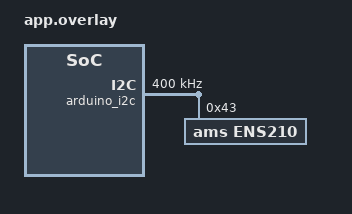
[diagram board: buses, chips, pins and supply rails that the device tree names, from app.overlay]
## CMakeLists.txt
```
# SPDX-License-Identifier: Apache-2.0

cmake_minimum_required(VERSION 3.20.0)

find_package(Zephyr REQUIRED HINTS $ENV{ZEPHYR_BASE})
project(ens210)

FILE(GLOB app_sources src/*.c)
target_sources(app PRIVATE ${app_sources})
```

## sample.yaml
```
sample:
  description: Demonstration of the AMS Temperature and Humidity Sensor driver
  name: ENS210 sample
tests:
  sample.sensor.ens210:
    harness: sensor
    tags: samples
    depends_on:
      - i2c
      - arduino_i2c
```

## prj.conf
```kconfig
CONFIG_I2C=y
CONFIG_SENSOR=y
CONFIG_ENS210=y

CONFIG_SYS_TIMEOUT_LEGACY_API=n
```

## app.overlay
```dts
/*
 * Copyright (c) 2018 Alexander Wachter
 * SPDX-License-Identifier: Apache-2.0
 */

&arduino_i2c {
	status = "okay";
	clock-frequency = <I2C_BITRATE_FAST>;

	ens210: ens210@43 {
		compatible = "ams,ens210";
		reg = <0x43>;
	};
};
```

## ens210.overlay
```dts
/*
 * Copyright (c) 2018 Alexander Wachter
 * SPDX-License-Identifier: Apache-2.0
 */

&arduino_i2c {
	status = "okay";
	clock-frequency = <I2C_BITRATE_FAST>;

	ens210: ens210@43 {
		compatible = "ams,ens210";
		reg = <0x43>;
		label = "ENS210";
	};
};
```

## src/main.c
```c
/*
 * Copyright (c) 2018 Alexander Wachter
 *
 * SPDX-License-Identifier: Apache-2.0
 */

#include <zephyr/kernel.h>
#include <zephyr/device.h>
#include <zephyr/drivers/sensor.h>
#include <zephyr/sys/printk.h>

int main(void)
{
	const struct device *const dev = DEVICE_DT_GET_ONE(ams_ens210);
	struct sensor_value temperature, humidity;

	if (!device_is_ready(dev)) {
		printk("Device %s is not ready\n", dev->name);
		return 0;
	}

	printk("device is %p, name is %s\n", dev, dev->name);

	while (1) {
		sensor_sample_fetch(dev);
		sensor_channel_get(dev, SENSOR_CHAN_HUMIDITY, &humidity);
		sensor_channel_get(dev, SENSOR_CHAN_AMBIENT_TEMP, &temperature);
		printk("Temperature: %d.%06d C; Humidity: %d.%06d%%\n",
			temperature.val1, temperature.val2,
			humidity.val1, humidity.val2);

		k_sleep(K_MSEC(1000));
	}
	return 0;
}
```
